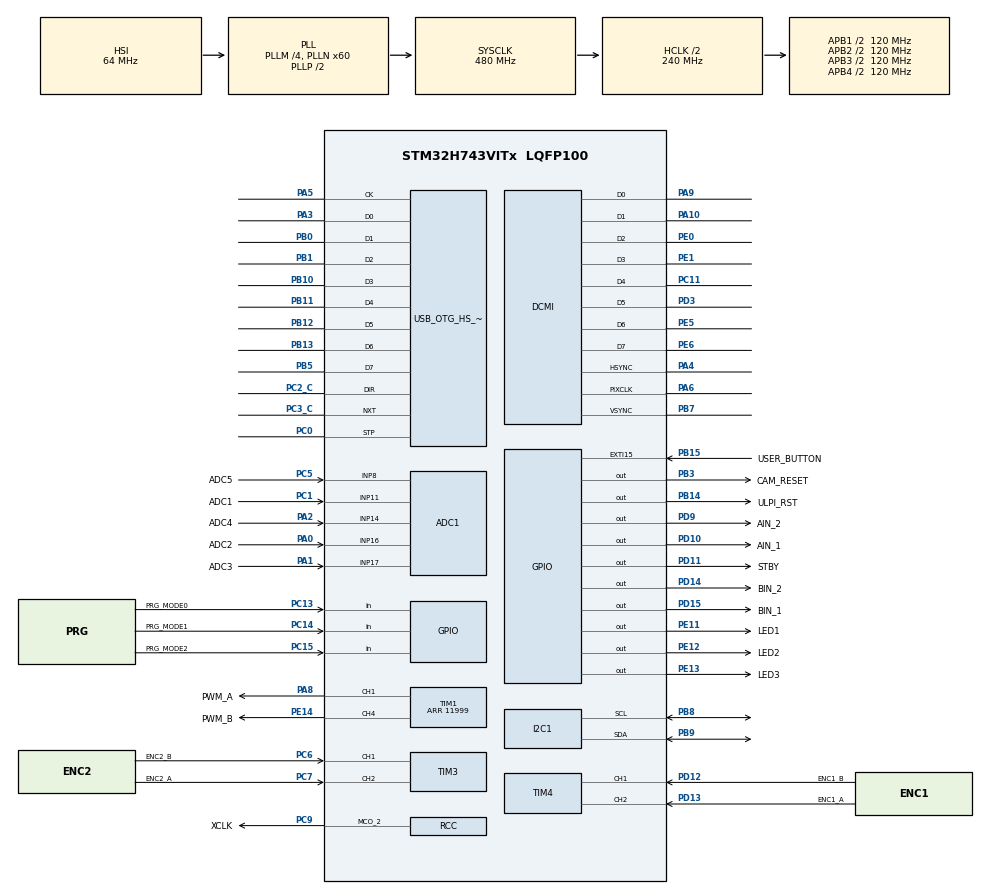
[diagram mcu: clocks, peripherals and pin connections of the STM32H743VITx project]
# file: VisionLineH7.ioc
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ADC1.Channel-1\#ChannelRegularConversion=ADC_CHANNEL_11
ADC1.ContinuousConvMode=ENABLE
ADC1.NbrOfConversion=1
ADC1.NbrOfConversionFlag=1
ADC1.OffsetNumber-1\#ChannelRegularConversion=ADC_OFFSET_NONE
ADC1.OffsetSignedSaturation-1\#ChannelRegularConversion=DISABLE
ADC1.Rank-1\#ChannelRegularConversion=1
ADC1.Ratio=4
ADC1.SamplingTime-1\#ChannelRegularConversion=ADC_SAMPLETIME_8CYCLES_5
ADC1.master=1
CORTEX_M7.CPU_DCache=Enabled
CORTEX_M7.CPU_ICache=Enabled
CORTEX_M7.default_mode_Activation=1
DCMI.CaptureRate=DCMI_CR_ALL_FRAME
DCMI.HSPolarity=DCMI_HSPOLARITY_LOW
DCMI.JPEGMode=DCMI_JPEG_DISABLE
DCMI.PCKPolarity=DCMI_PCKPOLARITY_RISING
DCMI.VSPolarity=DCMI_VSPOLARITY_LOW
Dma.DCMI.0.Direction=DMA_PERIPH_TO_MEMORY
Dma.DCMI.0.EventEnable=DISABLE
Dma.DCMI.0.FIFOMode=DMA_FIFOMODE_ENABLE
Dma.DCMI.0.FIFOThreshold=DMA_FIFO_THRESHOLD_FULL
Dma.DCMI.0.Instance=DMA1_Stream0
Dma.DCMI.0.MemBurst=DMA_MBURST_SINGLE
Dma.DCMI.0.MemDataAlignment=DMA_MDATAALIGN_WORD
Dma.DCMI.0.MemInc=DMA_MINC_ENABLE
Dma.DCMI.0.Mode=DMA_CIRCULAR
Dma.DCMI.0.PeriphBurst=DMA_PBURST_SINGLE
Dma.DCMI.0.PeriphDataAlignment=DMA_PDATAALIGN_WORD
Dma.DCMI.0.PeriphInc=DMA_PINC_DISABLE
Dma.DCMI.0.Polarity=HAL_DMAMUX_REQ_GEN_RISING
Dma.DCMI.0.Priority=DMA_PRIORITY_HIGH
Dma.DCMI.0.RequestNumber=1
Dma.DCMI.0.SignalID=NONE
Dma.DCMI.0.SyncEnable=DISABLE
Dma.DCMI.0.SyncPolarity=HAL_DMAMUX_SYNC_NO_EVENT
Dma.DCMI.0.SyncRequestNumber=1
Dma.DCMI.0.SyncSignalID=NONE
Dma.MEMTOMEM.1.Direction=DMA_MEMORY_TO_MEMORY
Dma.MEMTOMEM.1.EventEnable=DISABLE
Dma.MEMTOMEM.1.FIFOMode=DMA_FIFOMODE_ENABLE
Dma.MEMTOMEM.1.FIFOThreshold=DMA_FIFO_THRESHOLD_FULL
Dma.MEMTOMEM.1.Instance=DMA1_Stream1
Dma.MEMTOMEM.1.MemBurst=DMA_MBURST_INC4
Dma.MEMTOMEM.1.MemDataAlignment=DMA_MDATAALIGN_WORD
Dma.MEMTOMEM.1.MemInc=DMA_MINC_ENABLE
Dma.MEMTOMEM.1.Mode=DMA_NORMAL
Dma.MEMTOMEM.1.PeriphBurst=DMA_PBURST_INC4
Dma.MEMTOMEM.1.PeriphDataAlignment=DMA_PDATAALIGN_WORD
Dma.MEMTOMEM.1.PeriphInc=DMA_PINC_ENABLE
Dma.MEMTOMEM.1.Polarity=HAL_DMAMUX_REQ_GEN_RISING
Dma.MEMTOMEM.1.Priority=DMA_PRIORITY_HIGH
Dma.MEMTOMEM.1.RequestNumber=1
Dma.MEMTOMEM.1.SignalID=NONE
Dma.MEMTOMEM.1.SyncEnable=DISABLE
Dma.MEMTOMEM.1.SyncPolarity=HAL_DMAMUX_SYNC_NO_EVENT
Dma.MEMTOMEM.1.SyncRequestNumber=1
Dma.MEMTOMEM.1.SyncSignalID=NONE
Dma.Request0=DCMI
Dma.Request1=MEMTOMEM
I2C1.Timing=0x307075B1
JPEG.JPEG_RGB_FORMAT=JPEG_RGB565
JPEG.USE_JPEG_DECODER=0
JPEG.USE_JPEG_ENCODER=1
Mcu.Family=STM32H7
Mcu.Name=STM32H743VITx
Mcu.Package=LQFP100
Mdma.MDMA_Channel0.JPEG_OUTFIFO_TH.0.BlockCount=0
Mdma.MDMA_Channel0.JPEG_OUTFIFO_TH.0.BlockDataLength=0
Mdma.MDMA_Channel0.JPEG_OUTFIFO_TH.0.BufferTransferLength=32
Mdma.MDMA_Channel0.JPEG_OUTFIFO_TH.0.CircularMode=MDMA_LINEAR_LIST
Mdma.MDMA_Channel0.JPEG_OUTFIFO_TH.0.DataAlignment=MDMA_DATAALIGN_PACKENABLE
Mdma.MDMA_Channel0.JPEG_OUTFIFO_TH.0.DestBlockAddressOffset=0
Mdma.MDMA_Channel0.JPEG_OUTFIFO_TH.0.DestBurst=MDMA_DEST_BURST_32BEATS
Mdma.MDMA_Channel0.JPEG_OUTFIFO_TH.0.DestDataSize=MDMA_DEST_DATASIZE_BYTE
Mdma.MDMA_Channel0.JPEG_OUTFIFO_TH.0.DestinationInc=MDMA_DEST_INC_BYTE
Mdma.MDMA_Channel0.JPEG_OUTFIFO_TH.0.DstAddress=0
Mdma.MDMA_Channel0.JPEG_OUTFIFO_TH.0.Endianness=MDMA_LITTLE_ENDIANNESS_PRESERVE
Mdma.MDMA_Channel0.JPEG_OUTFIFO_TH.0.Instance=MDMA_Channel0
Mdma.MDMA_Channel0.JPEG_OUTFIFO_TH.0.MaskAddress=0
Mdma.MDMA_Channel0.JPEG_OUTFIFO_TH.0.MaskData=0
Mdma.MDMA_Channel0.JPEG_OUTFIFO_TH.0.Priority=MDMA_PRIORITY_VERY_HIGH
Mdma.MDMA_Channel0.JPEG_OUTFIFO_TH.0.Rank=First
Mdma.MDMA_Channel0.JPEG_OUTFIFO_TH.0.SourceBlockAddressOffset=0
Mdma.MDMA_Channel0.JPEG_OUTFIFO_TH.0.SourceBurst=MDMA_SOURCE_BURST_32BEATS
Mdma.MDMA_Channel0.JPEG_OUTFIFO_TH.0.SourceDataSize=MDMA_SRC_DATASIZE_WORD
Mdma.MDMA_Channel0.JPEG_OUTFIFO_TH.0.SourceInc=MDMA_SRC_INC_DISABLE
Mdma.MDMA_Channel0.JPEG_OUTFIFO_TH.0.SrcAddress=0
Mdma.MDMA_Channel0.JPEG_OUTFIFO_TH.0.TransferTriggerMode=MDMA_BUFFER_TRANSFER
Mdma.MDMA_Channel0.Request0=JPEG_OUTFIFO_TH
Mdma.MDMA_Channel0.RequestsNb=1
Mdma.MDMA_Channel1.JPEG_INFIFO_TH.0.BlockCount=0
Mdma.MDMA_Channel1.JPEG_INFIFO_TH.0.BlockDataLength=0
Mdma.MDMA_Channel1.JPEG_INFIFO_TH.0.BufferTransferLength=32
Mdma.MDMA_Channel1.JPEG_INFIFO_TH.0.CircularMode=MDMA_LINEAR_LIST
Mdma.MDMA_Channel1.JPEG_INFIFO_TH.0.DataAlignment=MDMA_DATAALIGN_PACKENABLE
Mdma.MDMA_Channel1.JPEG_INFIFO_TH.0.DestBlockAddressOffset=0
Mdma.MDMA_Channel1.JPEG_INFIFO_TH.0.DestBurst=MDMA_DEST_BURST_16BEATS
Mdma.MDMA_Channel1.JPEG_INFIFO_TH.0.DestDataSize=MDMA_DEST_DATASIZE_WORD
Mdma.MDMA_Channel1.JPEG_INFIFO_TH.0.DestinationInc=MDMA_DEST_INC_DISABLE
Mdma.MDMA_Channel1.JPEG_INFIFO_TH.0.DstAddress=0
Mdma.MDMA_Channel1.JPEG_INFIFO_TH.0.Endianness=MDMA_LITTLE_ENDIANNESS_PRESERVE
Mdma.MDMA_Channel1.JPEG_INFIFO_TH.0.Instance=MDMA_Channel1
Mdma.MDMA_Channel1.JPEG_INFIFO_TH.0.MaskAddress=0
Mdma.MDMA_Channel1.JPEG_INFIFO_TH.0.MaskData=0
Mdma.MDMA_Channel1.JPEG_INFIFO_TH.0.Priority=MDMA_PRIORITY_VERY_HIGH
Mdma.MDMA_Channel1.JPEG_INFIFO_TH.0.Rank=First
Mdma.MDMA_Channel1.JPEG_INFIFO_TH.0.SourceBlockAddressOffset=0
Mdma.MDMA_Channel1.JPEG_INFIFO_TH.0.SourceBurst=MDMA_SOURCE_BURST_32BEATS
Mdma.MDMA_Channel1.JPEG_INFIFO_TH.0.SourceDataSize=MDMA_SRC_DATASIZE_BYTE
Mdma.MDMA_Channel1.JPEG_INFIFO_TH.0.SourceInc=MDMA_SRC_INC_BYTE
Mdma.MDMA_Channel1.JPEG_INFIFO_TH.0.SrcAddress=0
Mdma.MDMA_Channel1.JPEG_INFIFO_TH.0.TransferTriggerMode=MDMA_BUFFER_TRANSFER
Mdma.MDMA_Channel1.Request0=JPEG_INFIFO_TH
Mdma.MDMA_Channel1.RequestsNb=1
Mdma.RequestSet0=MDMA_Channel1
Mdma.RequestSet1=MDMA_Channel0
Mdma.RequestSetsNb=2
NVIC.DCMI_IRQn=true\:0\:0\:false\:false\:true\:true\:true\:true
NVIC.DMA1_Stream0_IRQn=true\:0\:0\:false\:false\:true\:false\:true\:true
NVIC.EXTI15_10_IRQn=true\:0\:0\:false\:false\:true\:true\:true\:true
NVIC.JPEG_IRQn=true\:0\:0\:false\:false\:true\:true\:true\:true
NVIC.MDMA_IRQn=true\:0\:0\:false\:false\:true\:false\:true\:true
NVIC.OTG_HS_IRQn=true\:0\:0\:false\:false\:true\:true\:true\:true
NVIC.PriorityGroup=NVIC_PRIORITYGROUP_4
NVIC.TIM7_IRQn=true\:15\:0\:false\:false\:true\:true\:true\:true
PA0.GPIO_Label=ADC2
PA0.Mode=IN16-Single-Ended
PA0.Signal=ADC1_INP16
PA1.GPIO_Label=ADC3
PA1.Mode=IN17-Single-Ended
PA1.Signal=ADC1_INP17
PA10.GPIO_Speed=GPIO_SPEED_FREQ_VERY_HIGH
PA10.Mode=Slave_8_bits_External_Synchro
PA10.Signal=DCMI_D1
PA13\ (JTMS/SWDIO).Mode=Serial_Wire
PA13\ (JTMS/SWDIO).Signal=DEBUG_JTMS-SWDIO
PA14\ (JTCK/SWCLK).Mode=Serial_Wire
PA14\ (JTCK/SWCLK).Signal=DEBUG_JTCK-SWCLK
PA2.GPIO_Label=ADC4
PA2.Signal=ADCx_INP14
PA3.GPIO_Speed_Only_High=GPIO_SPEED_FREQ_VERY_HIGH
PA3.Mode=Device_HS
PA3.Signal=USB_OTG_HS_ULPI_D0
PA4.GPIO_Speed=GPIO_SPEED_FREQ_VERY_HIGH
PA4.Mode=Slave_8_bits_External_Synchro
PA4.Signal=DCMI_HSYNC
PA5.GPIO_Speed_Only_High=GPIO_SPEED_FREQ_VERY_HIGH
PA5.Mode=Device_HS
PA5.Signal=USB_OTG_HS_ULPI_CK
PA6.GPIO_Speed=GPIO_SPEED_FREQ_VERY_HIGH
PA6.Mode=Slave_8_bits_External_Synchro
PA6.Signal=DCMI_PIXCLK
PA8.GPIO_Label=PWM_A
PA8.Signal=S_TIM1_CH1
PA9.GPIO_Speed=GPIO_SPEED_FREQ_VERY_HIGH
PA9.Mode=Slave_8_bits_External_Synchro
PA9.Signal=DCMI_D0
PB0.GPIO_Speed_Only_High=GPIO_SPEED_FREQ_VERY_HIGH
PB0.Mode=Device_HS
PB0.Signal=USB_OTG_HS_ULPI_D1
PB1.GPIO_Speed_Only_High=GPIO_SPEED_FREQ_VERY_HIGH
PB1.Mode=Device_HS
PB1.Signal=USB_OTG_HS_ULPI_D2
PB10.GPIO_Speed_Only_High=GPIO_SPEED_FREQ_VERY_HIGH
PB10.Mode=Device_HS
PB10.Signal=USB_OTG_HS_ULPI_D3
PB11.GPIO_Speed_Only_High=GPIO_SPEED_FREQ_VERY_HIGH
PB11.Mode=Device_HS
PB11.Signal=USB_OTG_HS_ULPI_D4
PB12.GPIO_Speed_Only_High=GPIO_SPEED_FREQ_VERY_HIGH
PB12.Mode=Device_HS
PB12.Signal=USB_OTG_HS_ULPI_D5
PB13.GPIO_Speed_Only_High=GPIO_SPEED_FREQ_VERY_HIGH
PB13.Mode=Device_HS
PB13.Signal=USB_OTG_HS_ULPI_D6
PB14.GPIO_Label=ULPI_RST
PB14.Signal=GPIO_Output
PB15.GPIO_Label=USER_BUTTON
PB15.GPIO_ModeDefaultEXTI=GPIO_MODE_IT_FALLING
PB15.Signal=GPXTI15
PB3\ (JTDO/TRACESWO).GPIO_Label=CAM_RESET
PB3\ (JTDO/TRACESWO).Signal=GPIO_Output
PB5.GPIO_Speed_Only_High=GPIO_SPEED_FREQ_VERY_HIGH
PB5.Mode=Device_HS
PB5.Signal=USB_OTG_HS_ULPI_D7
PB7.GPIO_Speed=GPIO_SPEED_FREQ_VERY_HIGH
PB7.Mode=Slave_8_bits_External_Synchro
PB7.Signal=DCMI_VSYNC
PB8.Mode=I2C
PB8.Signal=I2C1_SCL
PB9.Mode=I2C
PB9.Signal=I2C1_SDA
PC0.GPIO_Speed_Only_High=GPIO_SPEED_FREQ_VERY_HIGH
PC0.Mode=Device_HS
PC0.Signal=USB_OTG_HS_ULPI_STP
PC1.GPIO_Label=ADC1
PC1.Signal=ADCx_INP11
PC11.GPIO_Speed=GPIO_SPEED_FREQ_VERY_HIGH
PC11.Mode=Slave_8_bits_External_Synchro
PC11.Signal=DCMI_D4
PC13.GPIO_Label=PRG_MODE0
PC13.Signal=GPIO_Input
PC14-OSC32_IN\ (OSC32_IN).GPIO_Label=PRG_MODE1
PC14-OSC32_IN\ (OSC32_IN).Signal=GPIO_Input
PC15-OSC32_OUT\ (OSC32_OUT).GPIO_Label=PRG_MODE2
PC15-OSC32_OUT\ (OSC32_OUT).Signal=GPIO_Input
PC2_C.GPIO_Speed_Only_High=GPIO_SPEED_FREQ_VERY_HIGH
PC2_C.Mode=Device_HS
PC2_C.Signal=USB_OTG_HS_ULPI_DIR
PC3_C.GPIO_Speed_Only_High=GPIO_SPEED_FREQ_VERY_HIGH
PC3_C.Mode=Device_HS
PC3_C.Signal=USB_OTG_HS_ULPI_NXT
PC5.GPIO_Label=ADC5
PC5.Signal=ADCx_INP8
PC6.GPIO_Label=ENC2_B
PC6.Signal=S_TIM3_CH1
PC7.GPIO_Label=ENC2_A
PC7.Signal=S_TIM3_CH2
PC9.GPIO_Label=XCLK
PC9.Mode=Clock-out-2
PC9.Signal=RCC_MCO_2
PD10.GPIO_Label=AIN_1
PD10.Signal=GPIO_Output
PD11.GPIO_Label=STBY
PD11.Signal=GPIO_Output
PD12.GPIO_Label=ENC1_B
PD12.Signal=S_TIM4_CH1
PD13.GPIO_Label=ENC1_A
PD13.Signal=S_TIM4_CH2
PD14.GPIO_Label=BIN_2
PD14.Signal=GPIO_Output
PD15.GPIO_Label=BIN_1
PD15.Signal=GPIO_Output
PD3.GPIO_Speed=GPIO_SPEED_FREQ_VERY_HIGH
PD3.Mode=Slave_8_bits_External_Synchro
PD3.Signal=DCMI_D5
PD9.GPIO_Label=AIN_2
PD9.Signal=GPIO_Output
PE0.GPIO_Speed=GPIO_SPEED_FREQ_VERY_HIGH
PE0.Mode=Slave_8_bits_External_Synchro
PE0.Signal=DCMI_D2
PE1.GPIO_Speed=GPIO_SPEED_FREQ_VERY_HIGH
PE1.Mode=Slave_8_bits_External_Synchro
PE1.Signal=DCMI_D3
PE11.GPIO_Label=LED1
PE11.Signal=GPIO_Output
PE12.GPIO_Label=LED2
PE12.Signal=GPIO_Output
PE13.GPIO_Label=LED3
PE13.Signal=GPIO_Output
PE14.GPIO_Label=PWM_B
PE14.Signal=S_TIM1_CH4
PE5.GPIO_Speed=GPIO_SPEED_FREQ_VERY_HIGH
PE5.Mode=Slave_8_bits_External_Synchro
PE5.Signal=DCMI_D6
PE6.GPIO_Speed=GPIO_SPEED_FREQ_VERY_HIGH
PE6.Mode=Slave_8_bits_External_Synchro
PE6.Signal=DCMI_D7
PH0-OSC_IN\ (PH0).Mode=HSE-External-Oscillator
PH0-OSC_IN\ (PH0).Signal=RCC_OSC_IN
PH1-OSC_OUT\ (PH1).Mode=HSE-External-Oscillator
PH1-OSC_OUT\ (PH1).Signal=RCC_OSC_OUT
ProjectManager.HeapSize=0x200
ProjectManager.StackSize=0x400
ProjectManager.TargetToolchain=CMake
RAMECC.Instance-RAMECC1_Monitor1=RAMECC1_Monitor1
RAMECC.Instance-RAMECC1_Monitor2=RAMECC1_Monitor2
RAMECC.Instance-RAMECC1_Monitor3=RAMECC1_Monitor3
RAMECC.Instance-RAMECC1_Monitor4=RAMECC1_Monitor4
RAMECC.Instance-RAMECC1_Monitor5=RAMECC1_Monitor5
RCC.ADCFreq_Value=80000000
RCC.APB1Freq_Value=120000000
RCC.APB2Freq_Value=120000000
RCC.APB3Freq_Value=120000000
RCC.APB4Freq_Value=120000000
RCC.CortexFreq_Value=480000000
RCC.D1PPRE=RCC_APB3_DIV2
RCC.D2PPRE1=RCC_APB1_DIV2
RCC.D2PPRE2=RCC_APB2_DIV2
RCC.D3PPRE=RCC_APB4_DIV2
RCC.DIVM1=4
RCC.DIVM2=4
RCC.DIVN1=60
RCC.DIVN2=10
RCC.HCLKFreq_Value=240000000
RCC.HPRE=RCC_HCLK_DIV2
RCC.HSE_VALUE=24000000
RCC.PLL2FRACN=0
RCC.PLL3FRACN=0
RCC.PLLFRACN=0
RCC.RCC_MCO2Source=RCC_MCO2SOURCE_PLLCLK
RCC.RCC_MCODiv2=RCC_MCODIV_13
RCC.SYSCLKFreq_VALUE=480000000
RCC.SYSCLKSource=RCC_SYSCLKSOURCE_PLLCLK
RCC.USBCLockSelection=RCC_USBCLKSOURCE_HSI48
RCC.USBFreq_Value=48000000
SH.ADCx_INP11.0=ADC1_INP11,IN11-Single-Ended
SH.ADCx_INP14.0=ADC1_INP14,IN14-Single-Ended
SH.ADCx_INP8.0=ADC1_INP8,IN8-Single-Ended
SH.S_TIM1_CH1.0=TIM1_CH1,PWM Generation1 CH1
SH.S_TIM1_CH4.0=TIM1_CH4,PWM Generation4 CH4
SH.S_TIM3_CH1.0=TIM3_CH1,Encoder_Interface
SH.S_TIM3_CH2.0=TIM3_CH2,Encoder_Interface
SH.S_TIM4_CH1.0=TIM4_CH1,Encoder_Interface
SH.S_TIM4_CH2.0=TIM4_CH2,Encoder_Interface
TIM1.Channel-PWM\ Generation1\ CH1=TIM_CHANNEL_1
TIM1.Channel-PWM\ Generation4\ CH4=TIM_CHANNEL_4
TIM1.Period=11999
TIM3.EncoderMode=TIM_ENCODERMODE_TI12
TIM4.EncoderMode=TIM_ENCODERMODE_TI12
TIM7.Period=9999
TIM7.Prescaler=239
USB_OTG_HS.Sof_enable-Device_HS=ENABLE
USB_OTG_HS.VirtualMode-Device_HS=Device_HS
USB_OTG_HS.dma_enable-Device_HS=ENABLE
VP_JPEG_VS_JPEG.Mode=JPEG_Activate
VP_MEMORYMAP_VS_MEMORYMAP.Mode=CurAppReg
VP_RAMECC_VS_D1_1.Mode=RAMECC1_Monitor1
VP_RAMECC_VS_D1_2.Mode=RAMECC1_Monitor2
VP_RAMECC_VS_D1_3.Mode=RAMECC1_Monitor3
VP_RAMECC_VS_D1_4.Mode=RAMECC1_Monitor4
VP_RAMECC_VS_D1_5.Mode=RAMECC1_Monitor5
VP_RNG_VS_RNG.Mode=RNG_Activate
VP_TIM7_VS_ClockSourceINT.Mode=Enable_Timer
board=custom

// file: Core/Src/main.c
/* USER CODE BEGIN Header */
/**
 ******************************************************************************
 * @file           : main.c
 * @brief          : Main program body
 ******************************************************************************
 * @attention
 *
 * Copyright (c) 2026 STMicroelectronics.
 * All rights reserved.
 *
 * This software is licensed under terms that can be found in the LICENSE file
 * in the root directory of this software component.
 * If no LICENSE file comes with this software, it is provided AS-IS.
 *
 ******************************************************************************
 */
/* USER CODE END Header */
#include "main.h"

/* USER CODE BEGIN Includes */
#include "ov5640.h"
#include "tusb.h"
#include "sys_mode.h"
#include "app_usb_webcam.h"
#include "usb_descriptor.h"
#include <stdio.h>
/* USER CODE END Includes */

ADC_HandleTypeDef hadc1;

DCMI_HandleTypeDef hdcmi;
DMA_HandleTypeDef hdma_dcmi;

I2C_HandleTypeDef hi2c1;

JPEG_HandleTypeDef hjpeg;
MDMA_HandleTypeDef hmdma_jpeg_infifo_th;
MDMA_HandleTypeDef hmdma_jpeg_outfifo_th;

RAMECC_HandleTypeDef hramecc1_m1;
RAMECC_HandleTypeDef hramecc1_m2;
RAMECC_HandleTypeDef hramecc1_m3;
RAMECC_HandleTypeDef hramecc1_m4;
RAMECC_HandleTypeDef hramecc1_m5;

RNG_HandleTypeDef hrng;

TIM_HandleTypeDef htim1;
TIM_HandleTypeDef htim3;
TIM_HandleTypeDef htim4;
TIM_HandleTypeDef htim7;

PCD_HandleTypeDef hpcd_USB_OTG_HS;

DMA_HandleTypeDef hdma_memtomem_dma1_stream1;

void SystemClock_Config(void);
static void MPU_Config(void);
static void MX_GPIO_Init(void);
static void MX_MDMA_Init(void);
static void MX_DMA_Init(void);
static void MX_ADC1_Init(void);
static void MX_DCMI_Init(void);
static void MX_I2C1_Init(void);
static void MX_TIM1_Init(void);
static void MX_TIM3_Init(void);
static void MX_TIM4_Init(void);
static void MX_JPEG_Init(void);
static void MX_USB_OTG_HS_PCD_Init(void);
static void MX_RNG_Init(void);
static void MX_RAMECC_Init(void);
static void MX_TIM7_Init(void);

/* USER CODE BEGIN 0 */

sys_run_mode_t run_mode = SYS_MODE_IDLE;

void HAL_GPIO_EXTI_Callback(uint16_t GPIO_Pin)
{
    static uint32_t last_tick = 0;
    uint32_t now = HAL_GetTick();

    if (GPIO_Pin == USER_BUTTON_Pin && (uint32_t)(now - last_tick) >= 30U)
    {
      last_tick = now;
      if (run_mode != SYS_MODE_STOPPED)
      {
        run_mode++;
      }
    }
}

void tud_mount_cb(void) {
  HAL_GPIO_WritePin(LED1_GPIO_Port, LED1_Pin, 1);
}

void tud_umount_cb(void) {
  HAL_GPIO_WritePin(LED1_GPIO_Port, LED1_Pin, 0);
}

uint32_t tusb_time_millis_api(void)
{
  return HAL_GetTick();
}

/**
 * @brief  Overload hàm printf bằng cổng CDC của USB HS.
 */
int _write(int file, char *data, int len)
{
  UNUSED(file);

  uint32_t written = tud_cdc_n_write(0, data, (uint32_t) len);
  tud_cdc_n_write_flush(0);
  tud_task_ext(0, false);

  return (int) written;
}
/* USER CODE END 0 */

int main(void)
{

  /* MPU Configuration--------------------------------------------------------*/
  MPU_Config();

  /* Enable the CPU Cache */

  /* Enable I-Cache---------------------------------------------------------*/
  SCB_EnableICache();

  /* Enable D-Cache---------------------------------------------------------*/
  SCB_EnableDCache();

  /* MCU Configuration--------------------------------------------------------*/

  /* Reset of all peripherals, Initializes the Flash interface and the Systick. */
  HAL_Init();

  /* Configure the system clock */
  SystemClock_Config();

  /* Initialize all configured peripherals */
  MX_GPIO_Init();
  MX_MDMA_Init();
  MX_DMA_Init();
  MX_ADC1_Init();
  MX_DCMI_Init();
  MX_I2C1_Init();
  MX_TIM1_Init();
  MX_TIM3_Init();
  MX_TIM4_Init();
  MX_JPEG_Init();
  MX_USB_OTG_HS_PCD_Init();
  MX_RNG_Init();
  MX_RAMECC_Init();
  MX_TIM7_Init();
  /* USER CODE BEGIN 2 */

  tusb_rhport_init_t dev_init = {
    .role = TUSB_ROLE_DEVICE,
    .speed = TUSB_SPEED_HIGH
  };

  if (!tusb_init(BOARD_TUD_RHPORT, &dev_init))
  {
    Error_Handler();
  }

  sys_mode_t current_mode = sys_mode_init();

  sys_mode_stop(current_mode);

  /* USER CODE END 2 */

  /* Infinite loop */
  /* USER CODE BEGIN WHILE */
	while (1)
	{
    if (run_mode == SYS_MODE_RUNNING)
    {
      sys_mode_run(current_mode);
    }
    else if (run_mode == SYS_MODE_STOPPED)
    {
      sys_mode_stop(current_mode);
      run_mode = SYS_MODE_IDLE;
    }
    tud_task();

    /* USER CODE END WHILE */

	}
}

void SystemClock_Config(void)
{
  RCC_OscInitTypeDef RCC_OscInitStruct = {0};
  RCC_ClkInitTypeDef RCC_ClkInitStruct = {0};

  /** Supply configuration update enable
  */
  HAL_PWREx_ConfigSupply(PWR_LDO_SUPPLY);

  /** Configure the main internal regulator output voltage
  */
  __HAL_PWR_VOLTAGESCALING_CONFIG(PWR_REGULATOR_VOLTAGE_SCALE0);

  while(!__HAL_PWR_GET_FLAG(PWR_FLAG_VOSRDY)) {}

  /** Initializes the RCC Oscillators according to the specified parameters
  * in the RCC_OscInitTypeDef structure.
  */
  RCC_OscInitStruct.OscillatorType = RCC_OSCILLATORTYPE_HSI48|RCC_OSCILLATORTYPE_HSI;
  RCC_OscInitStruct.HSIState = RCC_HSI_DIV1;
  RCC_OscInitStruct.HSICalibrationValue = RCC_HSICALIBRATION_DEFAULT;
  RCC_OscInitStruct.HSI48State = RCC_HSI48_ON;
  RCC_OscInitStruct.PLL.PLLState = RCC_PLL_ON;
  RCC_OscInitStruct.PLL.PLLSource = RCC_PLLSOURCE_HSI;
  RCC_OscInitStruct.PLL.PLLM = 4;
  RCC_OscInitStruct.PLL.PLLN = 60;
  RCC_OscInitStruct.PLL.PLLP = 2;
  RCC_OscInitStruct.PLL.PLLQ = 2;
  RCC_OscInitStruct.PLL.PLLR = 2;
  RCC_OscInitStruct.PLL.PLLRGE = RCC_PLL1VCIRANGE_3;
  RCC_OscInitStruct.PLL.PLLVCOSEL = RCC_PLL1VCOWIDE;
  RCC_OscInitStruct.PLL.PLLFRACN = 0;
  if (HAL_RCC_OscConfig(&RCC_OscInitStruct) != HAL_OK)
  {
    Error_Handler();
  }

  /** Initializes the CPU, AHB and APB buses clocks
  */
  RCC_ClkInitStruct.ClockType = RCC_CLOCKTYPE_HCLK|RCC_CLOCKTYPE_SYSCLK
                              |RCC_CLOCKTYPE_PCLK1|RCC_CLOCKTYPE_PCLK2
                              |RCC_CLOCKTYPE_D3PCLK1|RCC_CLOCKTYPE_D1PCLK1;
  RCC_ClkInitStruct.SYSCLKSource = RCC_SYSCLKSOURCE_PLLCLK;
  RCC_ClkInitStruct.SYSCLKDivider = RCC_SYSCLK_DIV1;
  RCC_ClkInitStruct.AHBCLKDivider = RCC_HCLK_DIV2;
  RCC_ClkInitStruct.APB3CLKDivider = RCC_APB3_DIV2;
  RCC_ClkInitStruct.APB1CLKDivider = RCC_APB1_DIV2;
  RCC_ClkInitStruct.APB2CLKDivider = RCC_APB2_DIV2;
  RCC_ClkInitStruct.APB4CLKDivider = RCC_APB4_DIV2;

  if (HAL_RCC_ClockConfig(&RCC_ClkInitStruct, FLASH_LATENCY_4) != HAL_OK)
  {
    Error_Handler();
  }
  __HAL_RCC_PLLCLKOUT_ENABLE(RCC_PLL1_DIVP);
  HAL_RCC_MCOConfig(RCC_MCO2, RCC_MCO2SOURCE_PLLCLK, RCC_MCODIV_13);
}

static void MX_ADC1_Init(void)
{

  ADC_MultiModeTypeDef multimode = {0};
  ADC_ChannelConfTypeDef sConfig = {0};

  /** Common config
  */
  hadc1.Instance = ADC1;
  hadc1.Init.ClockPrescaler = ADC_CLOCK_ASYNC_DIV1;
  hadc1.Init.Resolution = ADC_RESOLUTION_16B;
  hadc1.Init.ScanConvMode = ADC_SCAN_DISABLE;
  hadc1.Init.EOCSelection = ADC_EOC_SINGLE_CONV;
  hadc1.Init.LowPowerAutoWait = DISABLE;
  hadc1.Init.ContinuousConvMode = ENABLE;
  hadc1.Init.NbrOfConversion = 1;
  hadc1.Init.DiscontinuousConvMode = DISABLE;
  hadc1.Init.ExternalTrigConv = ADC_SOFTWARE_START;
  hadc1.Init.ExternalTrigConvEdge = ADC_EXTERNALTRIGCONVEDGE_NONE;
  hadc1.Init.ConversionDataManagement = ADC_CONVERSIONDATA_DR;
  hadc1.Init.Overrun = ADC_OVR_DATA_PRESERVED;
  hadc1.Init.LeftBitShift = ADC_LEFTBITSHIFT_NONE;
  hadc1.Init.OversamplingMode = DISABLE;
  hadc1.Init.Oversampling.Ratio = 4;
  if (HAL_ADC_Init(&hadc1) != HAL_OK)
  {
    Error_Handler();
  }

  /** Configure the ADC multi-mode
  */
  multimode.Mode = ADC_MODE_INDEPENDENT;
  if (HAL_ADCEx_MultiModeConfigChannel(&hadc1, &multimode) != HAL_OK)
  {
    Error_Handler();
  }

  /** Configure Regular Channel
  */
  sConfig.Channel = ADC_CHANNEL_11;
  sConfig.Rank = ADC_REGULAR_RANK_1;
  sConfig.SamplingTime = ADC_SAMPLETIME_8CYCLES_5;
  sConfig.SingleDiff = ADC_SINGLE_ENDED;
  sConfig.OffsetNumber = ADC_OFFSET_NONE;
  sConfig.Offset = 0;
  sConfig.OffsetSignedSaturation = DISABLE;
  if (HAL_ADC_ConfigChannel(&hadc1, &sConfig) != HAL_OK)
  {
    Error_Handler();
  }

}

static void MX_DCMI_Init(void)
{

  hdcmi.Instance = DCMI;
  hdcmi.Init.SynchroMode = DCMI_SYNCHRO_HARDWARE;
  hdcmi.Init.PCKPolarity = DCMI_PCKPOLARITY_RISING;
  hdcmi.Init.VSPolarity = DCMI_VSPOLARITY_LOW;
  hdcmi.Init.HSPolarity = DCMI_HSPOLARITY_LOW;
  hdcmi.Init.CaptureRate = DCMI_CR_ALL_FRAME;
  hdcmi.Init.ExtendedDataMode = DCMI_EXTEND_DATA_8B;
  hdcmi.Init.JPEGMode = DCMI_JPEG_DISABLE;
  hdcmi.Init.ByteSelectMode = DCMI_BSM_ALL;
  hdcmi.Init.ByteSelectStart = DCMI_OEBS_ODD;
  hdcmi.Init.LineSelectMode = DCMI_LSM_ALL;
  hdcmi.Init.LineSelectStart = DCMI_OELS_ODD;
  if (HAL_DCMI_Init(&hdcmi) != HAL_OK)
  {
    Error_Handler();
  }

}

static void MX_I2C1_Init(void)
{

  hi2c1.Instance = I2C1;
  hi2c1.Init.Timing = 0x307075B1;
  hi2c1.Init.OwnAddress1 = 0;
  hi2c1.Init.AddressingMode = I2C_ADDRESSINGMODE_7BIT;
  hi2c1.Init.DualAddressMode = I2C_DUALADDRESS_DISABLE;
  hi2c1.Init.OwnAddress2 = 0;
  hi2c1.Init.OwnAddress2Masks = I2C_OA2_NOMASK;
  hi2c1.Init.GeneralCallMode = I2C_GENERALCALL_DISABLE;
  hi2c1.Init.NoStretchMode = I2C_NOSTRETCH_DISABLE;
  if (HAL_I2C_Init(&hi2c1) != HAL_OK)
  {
    Error_Handler();
  }

  /** Configure Analogue filter
  */
  if (HAL_I2CEx_ConfigAnalogFilter(&hi2c1, I2C_ANALOGFILTER_ENABLE) != HAL_OK)
  {
    Error_Handler();
  }

  /** Configure Digital filter
  */
  if (HAL_I2CEx_ConfigDigitalFilter(&hi2c1, 0) != HAL_OK)
  {
    Error_Handler();
  }

}

static void MX_JPEG_Init(void)
{

  hjpeg.Instance = JPEG;
  if (HAL_JPEG_Init(&hjpeg) != HAL_OK)
  {
    Error_Handler();
  }

}

static void MX_RAMECC_Init(void)
{

  /** Initialize RAMECC1 M1 : AXI SRAM
  */
  hramecc1_m1.Instance = RAMECC1_Monitor1;
  if (HAL_RAMECC_Init(&hramecc1_m1) != HAL_OK)
  {
    Error_Handler();
  }

  /** Initialize RAMECC1 M2 : ITCM-RAM
  */
  hramecc1_m2.Instance = RAMECC1_Monitor2;
  if (HAL_RAMECC_Init(&hramecc1_m2) != HAL_OK)
  {
    Error_Handler();
  }

  /** Initialize RAMECC1 M3 : D0TCM-RAM
  */
  hramecc1_m3.Instance = RAMECC1_Monitor3;
  if (HAL_RAMECC_Init(&hramecc1_m3) != HAL_OK)
  {
    Error_Handler();
  }

  /** Initialize RAMECC1 M4 : D1TCM-RAM
  */
  hramecc1_m4.Instance = RAMECC1_Monitor4;
  if (HAL_RAMECC_Init(&hramecc1_m4) != HAL_OK)
  {
    Error_Handler();
  }

  /** Initialize RAMECC1 M5 : ETM RAM
  */
  hramecc1_m5.Instance = RAMECC1_Monitor5;
  if (HAL_RAMECC_Init(&hramecc1_m5) != HAL_OK)
  {
    Error_Handler();
  }

}

static void MX_RNG_Init(void)
{

  hrng.Instance = RNG;
  hrng.Init.ClockErrorDetection = RNG_CED_ENABLE;
  if (HAL_RNG_Init(&hrng) != HAL_OK)
  {
    Error_Handler();
  }

}

static void MX_TIM1_Init(void)
{

  TIM_MasterConfigTypeDef sMasterConfig = {0};
  TIM_OC_InitTypeDef sConfigOC = {0};
  TIM_BreakDeadTimeConfigTypeDef sBreakDeadTimeConfig = {0};

  htim1.Instance = TIM1;
  htim1.Init.Prescaler = 0;
  htim1.Init.CounterMode = TIM_COUNTERMODE_UP;
  htim1.Init.Period = 11999;
  htim1.Init.ClockDivision = TIM_CLOCKDIVISION_DIV1;
  htim1.Init.RepetitionCounter = 0;
  htim1.Init.AutoReloadPreload = TIM_AUTORELOAD_PRELOAD_DISABLE;
  if (HAL_TIM_PWM_Init(&htim1) != HAL_OK)
  {
    Error_Handler();
  }
  sMasterConfig.MasterOutputTrigger = TIM_TRGO_RESET;
  sMasterConfig.MasterOutputTrigger2 = TIM_TRGO2_RESET;
  sMasterConfig.MasterSlaveMode = TIM_MASTERSLAVEMODE_DISABLE;
  if (HAL_TIMEx_MasterConfigSynchronization(&htim1, &sMasterConfig) != HAL_OK)
  {
    Error_Handler();
  }
  sConfigOC.OCMode = TIM_OCMODE_PWM1;
  sConfigOC.Pulse = 0;
  sConfigOC.OCPolarity = TIM_OCPOLARITY_HIGH;
  sConfigOC.OCNPolarity = TIM_OCNPOLARITY_HIGH;
  sConfigOC.OCFastMode = TIM_OCFAST_DISABLE;
  sConfigOC.OCIdleState = TIM_OCIDLESTATE_RESET;
  sConfigOC.OCNIdleState = TIM_OCNIDLESTATE_RESET;
  if (HAL_TIM_PWM_ConfigChannel(&htim1, &sConfigOC, TIM_CHANNEL_1) != HAL_OK)
  {
    Error_Handler();
  }
  if (HAL_TIM_PWM_ConfigChannel(&htim1, &sConfigOC, TIM_CHANNEL_4) != HAL_OK)
  {
    Error_Handler();
  }
  sBreakDeadTimeConfig.OffStateRunMode = TIM_OSSR_DISABLE;
  sBreakDeadTimeConfig.OffStateIDLEMode = TIM_OSSI_DISABLE;
  sBreakDeadTimeConfig.LockLevel = TIM_LOCKLEVEL_OFF;
  sBreakDeadTimeConfig.DeadTime = 0;
  sBreakDeadTimeConfig.BreakState = TIM_BREAK_DISABLE;
  sBreakDeadTimeConfig.BreakPolarity = TIM_BREAKPOLARITY_HIGH;
  sBreakDeadTimeConfig.BreakFilter = 0;
  sBreakDeadTimeConfig.Break2State = TIM_BREAK2_DISABLE;
  sBreakDeadTimeConfig.Break2Polarity = TIM_BREAK2POLARITY_HIGH;
  sBreakDeadTimeConfig.Break2Filter = 0;
  sBreakDeadTimeConfig.AutomaticOutput = TIM_AUTOMATICOUTPUT_DISABLE;
  if (HAL_TIMEx_ConfigBreakDeadTime(&htim1, &sBreakDeadTimeConfig) != HAL_OK)
  {
    Error_Handler();
  }
  HAL_TIM_MspPostInit(&htim1);

}

static void MX_TIM3_Init(void)
{

  TIM_Encoder_InitTypeDef sConfig = {0};
  TIM_MasterConfigTypeDef sMasterConfig = {0};

  htim3.Instance = TIM3;
  htim3.Init.Prescaler = 0;
  htim3.Init.CounterMode = TIM_COUNTERMODE_UP;
  htim3.Init.Period = 65535;
  htim3.Init.ClockDivision = TIM_CLOCKDIVISION_DIV1;
  htim3.Init.AutoReloadPreload = TIM_AUTORELOAD_PRELOAD_DISABLE;
  sConfig.EncoderMode = TIM_ENCODERMODE_TI12;
  sConfig.IC1Polarity = TIM_ICPOLARITY_RISING;
  sConfig.IC1Selection = TIM_ICSELECTION_DIRECTTI;
  sConfig.IC1Prescaler = TIM_ICPSC_DIV1;
  sConfig.IC1Filter = 0;
  sConfig.IC2Polarity = TIM_ICPOLARITY_RISING;
  sConfig.IC2Selection = TIM_ICSELECTION_DIRECTTI;
  sConfig.IC2Prescaler = TIM_ICPSC_DIV1;
  sConfig.IC2Filter = 0;
  if (HAL_TIM_Encoder_Init(&htim3, &sConfig) != HAL_OK)
  {
    Error_Handler();
  }
  sMasterConfig.MasterOutputTrigger = TIM_TRGO_RESET;
  sMasterConfig.MasterSlaveMode = TIM_MASTERSLAVEMODE_DISABLE;
  if (HAL_TIMEx_MasterConfigSynchronization(&htim3, &sMasterConfig) != HAL_OK)
  {
    Error_Handler();
  }

}

static void MX_TIM4_Init(void)
{

  TIM_Encoder_InitTypeDef sConfig = {0};
  TIM_MasterConfigTypeDef sMasterConfig = {0};

  htim4.Instance = TIM4;
  htim4.Init.Prescaler = 0;
  htim4.Init.CounterMode = TIM_COUNTERMODE_UP;
  htim4.Init.Period = 65535;
  htim4.Init.ClockDivision = TIM_CLOCKDIVISION_DIV1;
  htim4.Init.AutoReloadPreload = TIM_AUTORELOAD_PRELOAD_DISABLE;
  sConfig.EncoderMode = TIM_ENCODERMODE_TI12;
  sConfig.IC1Polarity = TIM_ICPOLARITY_RISING;
  sConfig.IC1Selection = TIM_ICSELECTION_DIRECTTI;
  sConfig.IC1Prescaler = TIM_ICPSC_DIV1;
  sConfig.IC1Filter = 0;
  sConfig.IC2Polarity = TIM_ICPOLARITY_RISING;
  sConfig.IC2Selection = TIM_ICSELECTION_DIRECTTI;
  sConfig.IC2Prescaler = TIM_ICPSC_DIV1;
  sConfig.IC2Filter = 0;
  if (HAL_TIM_Encoder_Init(&htim4, &sConfig) != HAL_OK)
  {
    Error_Handler();
  }
  sMasterConfig.MasterOutputTrigger = TIM_TRGO_RESET;
  sMasterConfig.MasterSlaveMode = TIM_MASTERSLAVEMODE_DISABLE;
  if (HAL_TIMEx_MasterConfigSynchronization(&htim4, &sMasterConfig) != HAL_OK)
  {
    Error_Handler();
  }

}

static void MX_TIM7_Init(void)
{

  TIM_MasterConfigTypeDef sMasterConfig = {0};

  htim7.Instance = TIM7;
  htim7.Init.Prescaler = 239;
  htim7.Init.CounterMode = TIM_COUNTERMODE_UP;
  htim7.Init.Period = 9999;
  htim7.Init.AutoReloadPreload = TIM_AUTORELOAD_PRELOAD_DISABLE;
  if (HAL_TIM_Base_Init(&htim7) != HAL_OK)
  {
    Error_Handler();
  }
  sMasterConfig.MasterOutputTrigger = TIM_TRGO_RESET;
  sMasterConfig.MasterSlaveMode = TIM_MASTERSLAVEMODE_DISABLE;
  if (HAL_TIMEx_MasterConfigSynchronization(&htim7, &sMasterConfig) != HAL_OK)
  {
    Error_Handler();
  }

}

static void MX_USB_OTG_HS_PCD_Init(void)
{

  hpcd_USB_OTG_HS.Instance = USB_OTG_HS;
  hpcd_USB_OTG_HS.Init.dev_endpoints = 9;
  hpcd_USB_OTG_HS.Init.speed = PCD_SPEED_HIGH;
  hpcd_USB_OTG_HS.Init.dma_enable = ENABLE;
  hpcd_USB_OTG_HS.Init.phy_itface = USB_OTG_ULPI_PHY;
  hpcd_USB_OTG_HS.Init.Sof_enable = ENABLE;
  hpcd_USB_OTG_HS.Init.low_power_enable = DISABLE;
  hpcd_USB_OTG_HS.Init.lpm_enable = DISABLE;
  hpcd_USB_OTG_HS.Init.vbus_sensing_enable = DISABLE;
  hpcd_USB_OTG_HS.Init.use_dedicated_ep1 = DISABLE;
  hpcd_USB_OTG_HS.Init.use_external_vbus = DISABLE;
  if (HAL_PCD_Init(&hpcd_USB_OTG_HS) != HAL_OK)
  {
    Error_Handler();
  }

}

static void MX_DMA_Init(void)
{

  /* DMA controller clock enable */
  __HAL_RCC_DMA1_CLK_ENABLE();

  /* Configure DMA request hdma_memtomem_dma1_stream1 on DMA1_Stream1 */
  hdma_memtomem_dma1_stream1.Instance = DMA1_Stream1;
  hdma_memtomem_dma1_stream1.Init.Request = DMA_REQUEST_MEM2MEM;
  hdma_memtomem_dma1_stream1.Init.Direction = DMA_MEMORY_TO_MEMORY;
  hdma_memtomem_dma1_stream1.Init.PeriphInc = DMA_PINC_ENABLE;
  hdma_memtomem_dma1_stream1.Init.MemInc = DMA_MINC_ENABLE;
  hdma_memtomem_dma1_stream1.Init.PeriphDataAlignment = DMA_PDATAALIGN_WORD;
  hdma_memtomem_dma1_stream1.Init.MemDataAlignment = DMA_MDATAALIGN_WORD;
  hdma_memtomem_dma1_stream1.Init.Mode = DMA_NORMAL;
  hdma_memtomem_dma1_stream1.Init.Priority = DMA_PRIORITY_HIGH;
  hdma_memtomem_dma1_stream1.Init.FIFOMode = DMA_FIFOMODE_ENABLE;
  hdma_memtomem_dma1_stream1.Init.FIFOThreshold = DMA_FIFO_THRESHOLD_FULL;
  hdma_memtomem_dma1_stream1.Init.MemBurst = DMA_MBURST_INC4;
  hdma_memtomem_dma1_stream1.Init.PeriphBurst = DMA_PBURST_INC4;
  if (HAL_DMA_Init(&hdma_memtomem_dma1_stream1) != HAL_OK)
  {
    Error_Handler( );
  }

  /* DMA interrupt init */
  /* DMA1_Stream0_IRQn interrupt configuration */
  HAL_NVIC_SetPriority(DMA1_Stream0_IRQn, 0, 0);
  HAL_NVIC_EnableIRQ(DMA1_Stream0_IRQn);

}

/**
  * Enable MDMA controller clock
  */
static void MX_MDMA_Init(void)
{

  /* MDMA controller clock enable */
  __HAL_RCC_MDMA_CLK_ENABLE();
  /* Local variables */

  /* MDMA interrupt initialization */
  /* MDMA_IRQn interrupt configuration */
  HAL_NVIC_SetPriority(MDMA_IRQn, 0, 0);
  HAL_NVIC_EnableIRQ(MDMA_IRQn);

}

static void MX_GPIO_Init(void)
{
  GPIO_InitTypeDef GPIO_InitStruct = {0};

  /* GPIO Ports Clock Enable */
  __HAL_RCC_GPIOE_CLK_ENABLE();
  __HAL_RCC_GPIOC_CLK_ENABLE();
  __HAL_RCC_GPIOH_CLK_ENABLE();
  __HAL_RCC_GPIOA_CLK_ENABLE();
  __HAL_RCC_GPIOB_CLK_ENABLE();
  __HAL_RCC_GPIOD_CLK_ENABLE();

  /*Configure GPIO pin Output Level */
  HAL_GPIO_WritePin(GPIOE, LED1_Pin|LED2_Pin|LED3_Pin, GPIO_PIN_RESET);

  /*Configure GPIO pin Output Level */
  HAL_GPIO_WritePin(GPIOB, ULPI_RST_Pin|CAM_RESET_Pin, GPIO_PIN_RESET);

  /*Configure GPIO pin Output Level */
  HAL_GPIO_WritePin(GPIOD, AIN_2_Pin|AIN_1_Pin|STBY_Pin|BIN_2_Pin
                          |BIN_1_Pin, GPIO_PIN_RESET);

  /*Configure GPIO pins : PRG_MODE0_Pin PRG_MODE1_Pin PRG_MODE2_Pin */
  GPIO_InitStruct.Pin = PRG_MODE0_Pin|PRG_MODE1_Pin|PRG_MODE2_Pin;
  GPIO_InitStruct.Mode = GPIO_MODE_INPUT;
  GPIO_InitStruct.Pull = GPIO_NOPULL;
  HAL_GPIO_Init(GPIOC, &GPIO_InitStruct);

  /*Configure GPIO pins : LED1_Pin LED2_Pin LED3_Pin */
  GPIO_InitStruct.Pin = LED1_Pin|LED2_Pin|LED3_Pin;
  GPIO_InitStruct.Mode = GPIO_MODE_OUTPUT_PP;
  GPIO_InitStruct.Pull = GPIO_NOPULL;
  GPIO_InitStruct.Speed = GPIO_SPEED_FREQ_LOW;
  HAL_GPIO_Init(GPIOE, &GPIO_InitStruct);

  /*Configure GPIO pins : ULPI_RST_Pin CAM_RESET_Pin */
  GPIO_InitStruct.Pin = ULPI_RST_Pin|CAM_RESET_Pin;
  GPIO_InitStruct.Mode = GPIO_MODE_OUTPUT_PP;
  GPIO_InitStruct.Pull = GPIO_NOPULL;
  GPIO_InitStruct.Speed = GPIO_SPEED_FREQ_LOW;
  HAL_GPIO_Init(GPIOB, &GPIO_InitStruct);

  /*Configure GPIO pin : USER_BUTTON_Pin */
  GPIO_InitStruct.Pin = USER_BUTTON_Pin;
  GPIO_InitStruct.Mode = GPIO_MODE_IT_FALLING;
  GPIO_InitStruct.Pull = GPIO_NOPULL;
  HAL_GPIO_Init(USER_BUTTON_GPIO_Port, &GPIO_InitStruct);

  /*Configure GPIO pins : AIN_2_Pin AIN_1_Pin STBY_Pin BIN_2_Pin
                           BIN_1_Pin */
  GPIO_InitStruct.Pin = AIN_2_Pin|AIN_1_Pin|STBY_Pin|BIN_2_Pin
                          |BIN_1_Pin;
  GPIO_InitStruct.Mode = GPIO_MODE_OUTPUT_PP;
  GPIO_InitStruct.Pull = GPIO_NOPULL;
  GPIO_InitStruct.Speed = GPIO_SPEED_FREQ_LOW;
  HAL_GPIO_Init(GPIOD, &GPIO_InitStruct);

  /*Configure GPIO pin : XCLK_Pin */
  GPIO_InitStruct.Pin = XCLK_Pin;
  GPIO_InitStruct.Mode = GPIO_MODE_AF_PP;
  GPIO_InitStruct.Pull = GPIO_NOPULL;
  GPIO_InitStruct.Speed = GPIO_SPEED_FREQ_LOW;
  GPIO_InitStruct.Alternate = GPIO_AF0_MCO;
  HAL_GPIO_Init(XCLK_GPIO_Port, &GPIO_InitStruct);

  /* EXTI interrupt init*/
  HAL_NVIC_SetPriority(USER_BUTTON_EXTI_IRQn, 0, 0);
  HAL_NVIC_EnableIRQ(USER_BUTTON_EXTI_IRQn);

}

 /* MPU Configuration */

void MPU_Config(void)
{
  MPU_Region_InitTypeDef MPU_InitStruct = {0};

  /* Disables the MPU */
  HAL_MPU_Disable();

  /** Initializes and configures the Region and the memory to be protected
  */
  MPU_InitStruct.Enable = MPU_REGION_ENABLE;
  MPU_InitStruct.Number = MPU_REGION_NUMBER0;
  MPU_InitStruct.BaseAddress = 0x0;
  MPU_InitStruct.Size = MPU_REGION_SIZE_4GB;
  MPU_InitStruct.SubRegionDisable = 0x87;
  MPU_InitStruct.TypeExtField = MPU_TEX_LEVEL0;
  MPU_InitStruct.AccessPermission = MPU_REGION_NO_ACCESS;
  MPU_InitStruct.DisableExec = MPU_INSTRUCTION_ACCESS_DISABLE;
  MPU_InitStruct.IsShareable = MPU_ACCESS_SHAREABLE;
  MPU_InitStruct.IsCacheable = MPU_ACCESS_NOT_CACHEABLE;
  MPU_InitStruct.IsBufferable = MPU_ACCESS_NOT_BUFFERABLE;

  HAL_MPU_ConfigRegion(&MPU_InitStruct);
  /* Enables the MPU */
  HAL_MPU_Enable(MPU_PRIVILEGED_DEFAULT);

}

void Error_Handler(void)
{
	__disable_irq();
	while (1)
  {
  }
}
